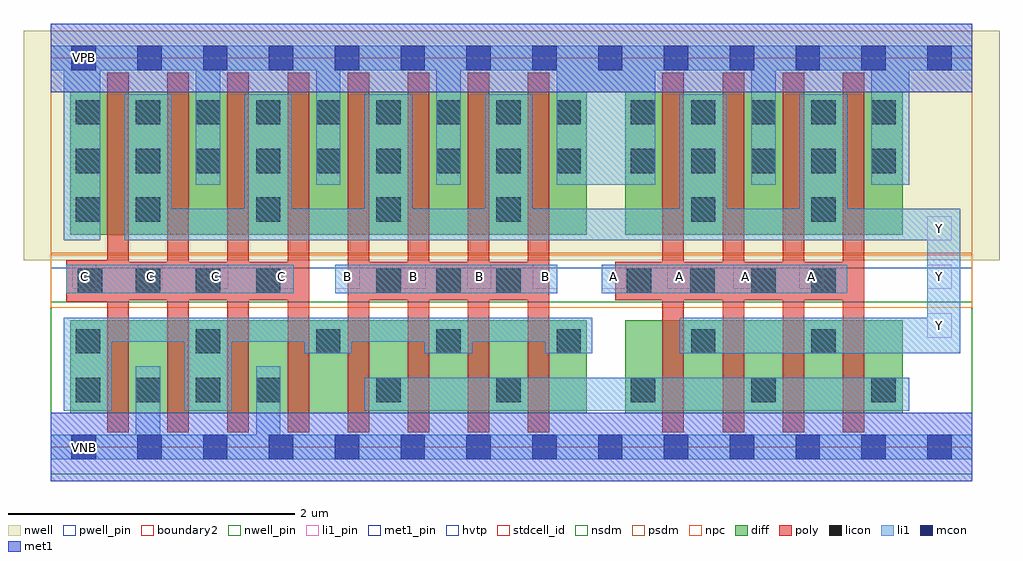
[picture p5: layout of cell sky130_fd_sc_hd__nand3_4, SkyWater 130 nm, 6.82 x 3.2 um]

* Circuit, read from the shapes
.subckt sky130_fd_sc_hd__nand3_4 A B C VGND VNB VPB VPWR Y
XM1 VGND C n1 VNB sky130_fd_pr__nfet_01v8 w=0.65 l=0.15 m=4
XM2 n2 B n1 VNB sky130_fd_pr__nfet_01v8 w=0.65 l=0.15 m=4
XM3 Y A n2 VNB sky130_fd_pr__nfet_01v8 w=0.65 l=0.15 m=4
XM4 Y C VPWR VPB sky130_fd_pr__pfet_01v8_hvt w=1 l=0.15 m=4
XM5 Y B VPWR VPB sky130_fd_pr__pfet_01v8_hvt w=1 l=0.15 m=4
XM6 Y A VPWR VPB sky130_fd_pr__pfet_01v8_hvt w=1 l=0.15 m=4
.ends

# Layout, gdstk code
import gdstk
lib = gdstk.Library(unit=1e-6, precision=1e-09)
def R(c, l, rs):  # rectangles x0, y0, x1, y1
    for r in rs: c.add(gdstk.rectangle(r[:2], r[2:], *l))
def A(c, l, x, y, w, h, nx, ny, dx, dy):  # array of equal rectangles
    R(c, l, [(x+i*dx, y+j*dy, x+i*dx+w, y+j*dy+h) for i in range(nx) for j in range(ny)])
def P(c, l, *ps):  # polygons
    for p in ps: c.add(gdstk.Polygon(p, *l))
nwell_pin = (64, 16)
nwell = (64, 20)
diff = (65, 20)
poly = (66, 20)
licon = (66, 44)
li1_pin = (67, 16)
li1 = (67, 20)
mcon = (67, 44)
met1_pin = (68, 16)
met1 = (68, 20)
hvtp = (78, 44)
stdcell_id = (81, 4)
nsdm = (93, 44)
psdm = (94, 20)
npc = (95, 20)
pwell_pin = (122, 16)
boundary2 = (236, 0)

sky130_fd_sc_hd__nand3_4 = lib.new_cell('sky130_fd_sc_hd__nand3_4')
R(sky130_fd_sc_hd__nand3_4, nwell_pin, [(0.15,2.635,0.32,2.805)])
R(sky130_fd_sc_hd__nand3_4, nwell, [(-0.19,1.305,6.63,2.91)])
R(sky130_fd_sc_hd__nand3_4, diff, [(0.135,0.235,3.745,0.885), (4.015,0.235,5.955,0.885), (0.135,1.485,3.745,2.485), (4.015,1.485,5.955,2.485)])
R(sky130_fd_sc_hd__nand3_4, poly, [(0.11,1.015,0.395,1.025), (0.11,1.295,0.395,1.305)])
P(sky130_fd_sc_hd__nand3_4, poly, [(3.485,2.615),(3.335,2.615),(3.335,1.295),(3.065,1.295),(3.065,2.615),(2.915,2.615),(2.915,1.295),(2.645,1.295),(2.645,2.615),(2.495,2.615),(2.495,1.295),(2.225,1.295),(2.225,2.615),(2.075,2.615),(2.075,0.105),(2.225,0.105),(2.225,1.025),(2.495,1.025),(2.495,0.105),(2.645,0.105),(2.645,1.025),(2.915,1.025),(2.915,0.105),(3.065,0.105),(3.065,1.025),(3.335,1.025),(3.335,0.105),(3.485,0.105)],
  [(1.805,2.615),(1.655,2.615),(1.655,1.295),(1.385,1.295),(1.385,2.615),(1.235,2.615),(1.235,1.295),(0.965,1.295),(0.965,2.615),(0.815,2.615),(0.815,1.295),(0.545,1.295),(0.545,2.615),(0.395,2.615),(0.395,1.295),(0.11,1.295),(0.11,1.025),(0.395,1.025),(0.395,0.105),(0.545,0.105),(0.545,1.025),(0.815,1.025),(0.815,0.105),(0.965,0.105),(0.965,1.025),(1.235,1.025),(1.235,0.105),(1.385,0.105),(1.385,1.025),(1.655,1.025),(1.655,0.105),(1.805,0.105)],
  [(5.685,2.615),(5.535,2.615),(5.535,1.295),(5.265,1.295),(5.265,2.615),(5.115,2.615),(5.115,1.295),(4.845,1.295),(4.845,2.615),(4.695,2.615),(4.695,1.295),(4.425,1.295),(4.425,2.615),(4.275,2.615),(4.275,1.295),(3.945,1.295),(3.945,1.025),(4.275,1.025),(4.275,0.105),(4.425,0.105),(4.425,1.025),(4.695,1.025),(4.695,0.105),(4.845,0.105),(4.845,1.025),(5.115,1.025),(5.115,0.105),(5.265,0.105),(5.265,1.025),(5.535,1.025),(5.535,0.105),(5.685,0.105)])
A(sky130_fd_sc_hd__nand3_4, licon, 0.175, 0.315, 0.17, 0.17, 4, 1, 0.42, 0)
A(sky130_fd_sc_hd__nand3_4, licon, 4.055, 0.315, 0.17, 0.17, 3, 1, 0.84, 0)
A(sky130_fd_sc_hd__nand3_4, licon, 0.175, 0.655, 0.17, 0.17, 5, 1, 0.84, 0)
A(sky130_fd_sc_hd__nand3_4, licon, 0.595, 1.075, 0.17, 0.17, 3, 1, 0.42, 0)
A(sky130_fd_sc_hd__nand3_4, licon, 2.275, 1.075, 0.17, 0.17, 3, 1, 0.42, 0)
A(sky130_fd_sc_hd__nand3_4, licon, 0.595, 1.575, 0.17, 0.17, 4, 1, 0.84, 0)
A(sky130_fd_sc_hd__nand3_4, licon, 0.175, 1.915, 0.17, 0.17, 9, 2, 0.42, 0.34)
A(sky130_fd_sc_hd__nand3_4, licon, 4.055, 1.915, 0.17, 0.17, 5, 2, 0.42, 0.34)
R(sky130_fd_sc_hd__nand3_4, licon, [(2.275,0.315,2.445,0.485), (3.115,0.315,3.285,0.485), (4.475,0.655,4.645,0.825), (5.315,0.655,5.485,0.825), (0.19,1.075,0.36,1.245), (4.025,1.075,4.195,1.245), (4.47,1.075,4.64,1.245), (4.895,1.075,5.065,1.245), (5.315,1.075,5.485,1.245), (0.175,1.575,0.345,1.745), (4.475,1.575,4.645,1.745), (5.315,1.575,5.485,1.745)])
A(sky130_fd_sc_hd__nand3_4, li1_pin, 6.125, 0.765, 0.17, 0.17, 1, 3, 0, 0.34)
A(sky130_fd_sc_hd__nand3_4, li1_pin, 0.15, 1.105, 0.17, 0.17, 8, 1, 0.46, 0)
A(sky130_fd_sc_hd__nand3_4, li1_pin, 3.85, 1.105, 0.17, 0.17, 4, 1, 0.46, 0)
R(sky130_fd_sc_hd__nand3_4, li1, [(2.195,0.255,6,0.485), (0.11,1.075,1.7,1.275), (1.99,1.075,3.54,1.275), (3.85,1.075,5.565,1.275)])
P(sky130_fd_sc_hd__nand3_4, li1, [(6.44,0.085),(1.605,0.085),(1.605,0.565),(1.435,0.565),(1.435,0.085),(0.765,0.085),(0.765,0.565),(0.595,0.565),(0.595,0.085),(0,0.085),(0,-0.085),(6.44,-0.085)],
  [(6.44,2.805),(0,2.805),(0,2.635),(0.09,2.635),(0.09,1.445),(0.345,1.445),(0.345,2.635),(1.015,2.635),(1.015,1.835),(1.185,1.835),(1.185,2.635),(1.855,2.635),(1.855,1.835),(2.025,1.835),(2.025,2.635),(2.695,2.635),(2.695,1.835),(2.865,1.835),(2.865,2.635),(3.535,2.635),(3.535,1.835),(4.225,1.835),(4.225,2.635),(4.895,2.635),(4.895,1.835),(5.065,1.835),(5.065,2.635),(5.735,2.635),(5.735,1.835),(6,1.835),(6,2.635),(6.44,2.635)],
  [(6.355,1.665),(5.565,1.665),(5.565,2.465),(5.235,2.465),(5.235,1.665),(4.725,1.665),(4.725,2.465),(4.395,2.465),(4.395,1.665),(3.365,1.665),(3.365,2.465),(3.035,2.465),(3.035,1.665),(2.525,1.665),(2.525,2.465),(2.195,2.465),(2.195,1.665),(1.685,1.665),(1.685,2.465),(1.355,2.465),(1.355,1.665),(0.845,1.665),(0.845,2.465),(0.515,2.465),(0.515,1.445),(6.125,1.445),(6.125,0.905),(4.395,0.905),(4.395,0.655),(6.355,0.655)],
  [(3.785,0.905),(0.09,0.905),(0.09,0.255),(0.425,0.255),(0.425,0.735),(0.935,0.735),(0.935,0.255),(1.265,0.255),(1.265,0.735),(1.775,0.735),(1.775,0.655),(2.105,0.655),(2.105,0.735),(2.615,0.735),(2.615,0.655),(2.945,0.655),(2.945,0.735),(3.455,0.735),(3.455,0.655),(3.785,0.655)])
A(sky130_fd_sc_hd__nand3_4, mcon, 0.145, -0.085, 0.17, 0.17, 14, 2, 0.46, 2.72)
R(sky130_fd_sc_hd__nand3_4, met1_pin, [(0.15,-0.085,0.32,0.085), (0.15,2.635,0.32,2.805)])
R(sky130_fd_sc_hd__nand3_4, hvtp, [(0,1.25,6.44,2.72)])
R(sky130_fd_sc_hd__nand3_4, stdcell_id, [(0,0,6.44,2.72)])
R(sky130_fd_sc_hd__nand3_4, nsdm, [(0,-0.19,6.44,1.015)])
R(sky130_fd_sc_hd__nand3_4, psdm, [(0,1.355,6.44,2.91)])
R(sky130_fd_sc_hd__nand3_4, npc, [(0,0.975,6.44,1.345)])
R(sky130_fd_sc_hd__nand3_4, pwell_pin, [(0.15,-0.085,0.32,0.085)])
R(sky130_fd_sc_hd__nand3_4, boundary2, [(0,0,6.44,2.72)])
sky130_fd_sc_hd__nand3_4.add(gdstk.FlexPath([(0,2.72),(6.44,2.72)], 0.48, ends="flush", simple_path=True, layer=68, datatype=20))  # met1
sky130_fd_sc_hd__nand3_4.add(gdstk.FlexPath([(0,0),(6.44,0)], 0.48, ends="flush", simple_path=True, layer=68, datatype=20))  # met1
sky130_fd_sc_hd__nand3_4.add(gdstk.Label('Y', (6.21,0.85), layer=67, texttype=5))
sky130_fd_sc_hd__nand3_4.add(gdstk.Label('Y', (6.21,1.19), layer=67, texttype=5))
sky130_fd_sc_hd__nand3_4.add(gdstk.Label('Y', (6.21,1.53), layer=67, texttype=5))
sky130_fd_sc_hd__nand3_4.add(gdstk.Label('A', (5.315,1.19), layer=67, texttype=5))
sky130_fd_sc_hd__nand3_4.add(gdstk.Label('A', (4.855,1.19), layer=67, texttype=5))
sky130_fd_sc_hd__nand3_4.add(gdstk.Label('A', (4.395,1.19), layer=67, texttype=5))
sky130_fd_sc_hd__nand3_4.add(gdstk.Label('B', (3.455,1.19), layer=67, texttype=5))
sky130_fd_sc_hd__nand3_4.add(gdstk.Label('B', (2.995,1.19), layer=67, texttype=5))
sky130_fd_sc_hd__nand3_4.add(gdstk.Label('B', (2.535,1.19), layer=67, texttype=5))
sky130_fd_sc_hd__nand3_4.add(gdstk.Label('B', (2.075,1.19), layer=67, texttype=5))
sky130_fd_sc_hd__nand3_4.add(gdstk.Label('C', (1.615,1.19), layer=67, texttype=5))
sky130_fd_sc_hd__nand3_4.add(gdstk.Label('C', (1.155,1.19), layer=67, texttype=5))
sky130_fd_sc_hd__nand3_4.add(gdstk.Label('C', (0.695,1.19), layer=67, texttype=5))
sky130_fd_sc_hd__nand3_4.add(gdstk.Label('A', (3.935,1.19), layer=67, texttype=5))
sky130_fd_sc_hd__nand3_4.add(gdstk.Label('C', (0.235,1.19), layer=67, texttype=5))
sky130_fd_sc_hd__nand3_4.add(gdstk.Label('VNB', (0.235,0), layer=64, texttype=59))
sky130_fd_sc_hd__nand3_4.add(gdstk.Label('VPB', (0.235,2.72), layer=64, texttype=5))
sky130_fd_sc_hd__nand3_4.add(gdstk.Label('VGND', (0.23,0), layer=68, texttype=5))
sky130_fd_sc_hd__nand3_4.add(gdstk.Label('VPWR', (0.235,2.72), layer=68, texttype=5))
sky130_fd_sc_hd__nand3_4.add(gdstk.Label('nand3_4', (0,0), layer=83, texttype=44))

lib.write_gds('sky130_fd_sc_hd__nand3_4.gds')
